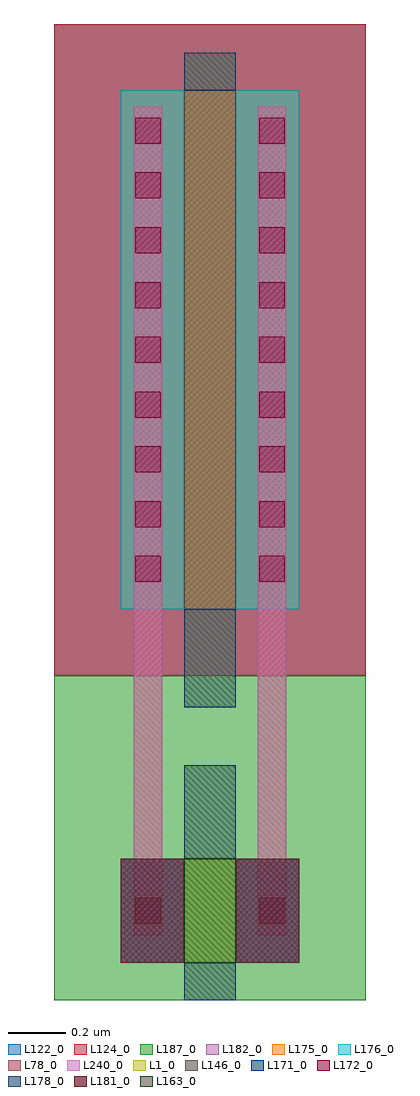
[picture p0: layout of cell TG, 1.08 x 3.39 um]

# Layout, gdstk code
import gdstk
lib = gdstk.Library(unit=1e-6, precision=1e-09)
def R(c, l, rs):  # rectangles x0, y0, x1, y1
    for r in rs: c.add(gdstk.rectangle(r[:2], r[2:], *l))
def A(c, l, x, y, w, h, nx, ny, dx, dy):  # array of equal rectangles
    R(c, l, [(x+i*dx, y+j*dy, x+i*dx+w, y+j*dy+h) for i in range(nx) for j in range(ny)])
L1_0 = (1, 0)
L78_0 = (78, 0)
L122_0 = (122, 0)
L124_0 = (124, 0)
L146_0 = (146, 0)
L163_0 = (163, 0)
L171_0 = (171, 0)
L172_0 = (172, 0)
L175_0 = (175, 0)
L176_0 = (176, 0)
L178_0 = (178, 0)
L181_0 = (181, 0)
L182_0 = (182, 0)
L187_0 = (187, 0)
L240_0 = (240, 0)

c_tg = lib.new_cell('TG')
R(c_tg, L1_0, [(1.92,0.16,2.1,0.975), (1.92,1.175,2.1,3.445)])
R(c_tg, L78_0, [(1.745,0.385,1.845,3.26), (2.175,0.385,2.275,3.26)])
R(c_tg, L122_0, [(1.47,1.285,2.55,3.545)])
R(c_tg, L124_0, [(1.47,1.285,2.55,3.545)])
R(c_tg, L146_0, [(1.92,1.515,2.1,3.315)])
R(c_tg, L163_0, [(1.92,0.29,2.1,0.65)])
R(c_tg, L171_0, [(1.92,0.16,2.1,0.29), (1.92,0.65,2.1,0.975), (1.92,1.175,2.1,1.515), (1.92,3.315,2.1,3.445)])
A(c_tg, L172_0, 1.75, 1.61, 0.09, 0.09, 1, 9, 0, 0.19)
A(c_tg, L172_0, 2.18, 1.61, 0.09, 0.09, 1, 9, 0, 0.19)
R(c_tg, L172_0, [(1.75,0.425,1.84,0.515), (2.18,0.425,2.27,0.515)])
R(c_tg, L175_0, [(1.7,1.515,1.92,3.315), (2.1,1.515,2.32,3.315)])
R(c_tg, L176_0, [(1.7,1.515,1.92,3.315), (2.1,1.515,2.32,3.315)])
R(c_tg, L178_0, [(1.7,0.29,1.92,0.65), (2.1,0.29,2.32,0.65)])
R(c_tg, L181_0, [(1.7,0.29,1.92,0.65), (2.1,0.29,2.32,0.65)])
R(c_tg, L182_0, [(1.7,0.29,1.92,0.65), (2.1,0.29,2.32,0.65), (1.7,1.515,1.92,3.315), (2.1,1.515,2.32,3.315)])
R(c_tg, L187_0, [(1.47,0.16,2.55,1.285)])
R(c_tg, L240_0, [(1.745,0.385,1.845,3.26), (2.175,0.385,2.275,3.26)])

lib.write_gds('TG.gds')
